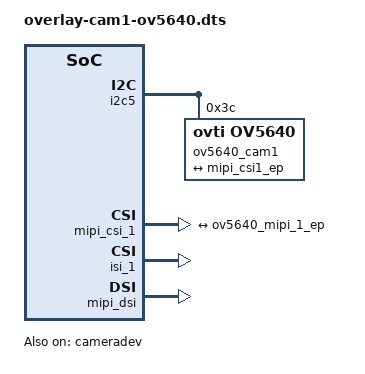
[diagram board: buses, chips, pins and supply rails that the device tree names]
/*
 * Copyright (C) 2022 Avnet Embedded GmbH
 *
 * This program is free software; you can redistribute it and/or
 * modify it under the terms of the GNU General Public License as
 * published by the Free Software Foundation version 2.
 *
 * This program is distributed "as is" WITHOUT ANY WARRANTY of any
 * kind, whether express or implied; without even the implied warranty
 * of MERCHANTABILITY or FITNESS FOR A PARTICULAR PURPOSE.  See the
 * GNU General Public License for more details.
 */

/dts-v1/;
/plugin/;

#include <dt-bindings/clock/imx8mp-clock.h>

/ {
	fragment@3100 {
		target = <&i2c5>;
		__overlay__ {
			#address-cells = <1>;
			#size-cells = <0>;
			ov5640_cam1: ov5640_mipi@3c {
				compatible = "ovti,ov5640";
				reg = <0x3c>;
				clocks = <&clk IMX8MP_CLK_IPP_DO_CLKO2>;
				clock-names = "xclk";
				assigned-clocks = <&clk IMX8MP_CLK_IPP_DO_CLKO2>;
				assigned-clock-parents = <&clk IMX8MP_CLK_24M>;
				assigned-clock-rates = <24000000>;
				csi_id = <0>;
				mclk = <24000000>;
				mclk_source = <0>;
				mipi_csi;
				status = "okay";

				port {
					ov5640_mipi_1_ep: endpoint {
						remote-endpoint = <&mipi_csi1_ep>;
						data-lanes = <1 2>;
						clock-lanes = <0>;
					};
				};
			};
		};
	};

	fragment@3101 {
		target = <&mipi_csi_1>;
		__overlay__ {
			#address-cells = <1>;
			#size-cells = <0>;
			status = "okay";
			port@1 {
				reg = <1>;
				mipi_csi1_ep: endpoint {
					remote-endpoint = <&ov5640_mipi_1_ep>;
					data-lanes = <2>;
					csis-hs-settle = <13>;
					csis-clk-settle = <2>;
					csis-wclk;
				};
			};
		};
	};

	fragment@3102 {
		target = <&cameradev>;
		__overlay__ {
			status = "okay";
		};
	};

	fragment@3103 {
		target = <&isi_1>;
		__overlay__ {
			status = "okay";

			cap_device {
				status = "okay";
			};
		};
	};

	fragment@3104 {
		target = <&mipi_dsi>;
		__overlay__ {
			status = "okay";
		};
	};
};
